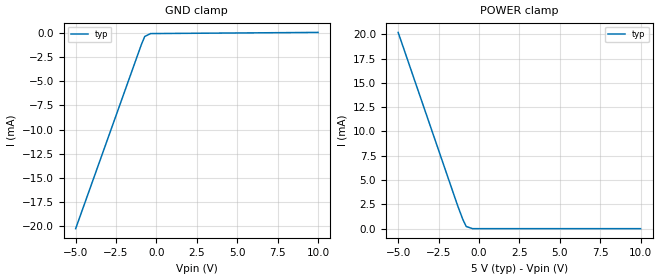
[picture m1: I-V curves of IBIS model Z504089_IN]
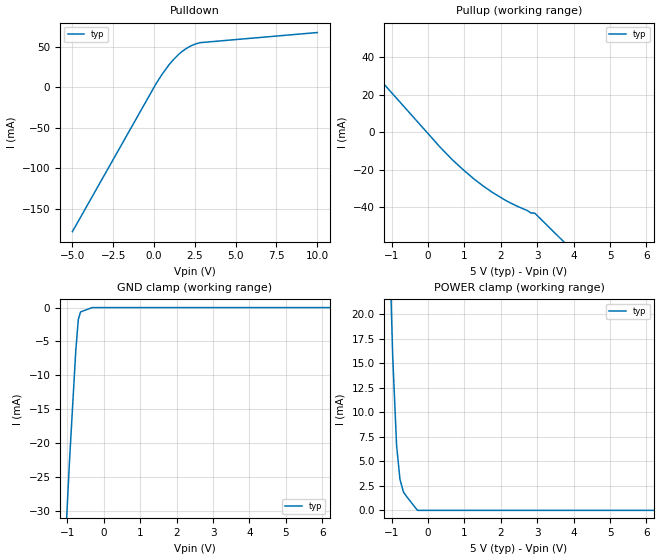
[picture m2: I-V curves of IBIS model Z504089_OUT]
| YOU ARE ONLY AUTHORIZED TO USE THIS SOFTWARE
| ACCORDING TO LICENSOR'S LICENSE RESTRICTIONS.
[IBIS Ver] 3.1
[File Name] mc54hc30j.ibs
[File Rev] 2.0
[Source] Measured and created by ICX Technology
[Date] Friday 7/14/00 9:08:06 AM
[Copyright]
| (C) COPYRIGHT 1993-2000
| MENTOR GRAPHICS CORPORATION
| ICX STANDARD LIBRARY, ICX PROJECT MODELING,
| ICX CUSTOM MODELING, ICX VENDOR MODEL
| ALL RIGHTS RESERVED.
| THE FOLLOWING ARE TRADEMARKS OR SERVICE MARKS OF
| MENTOR GRAPHICS CORPORATION:ICX (R), ICX STANDARD
| LIBRARY(R), ICX PROJECT MODELING(R), ICX CUSTOM
| MODELING(R), qualityIBIS(TM), MODELVIEWER(TM),
| AND MODELEDITOR(TM)
| ALL COPIES OF SOFTWARE, INCLUDING BUT NOT LIMITED TO
| ANY MODIFICATIONS, ENHANCEMENTS OR DERIVATIVE WORKS,
| MUST CONTAIN ALL MENTOR GRAPHICS CORPORATION'S
| NOTICES AND LEGENDS, INCLUDING THOSE EMBEDDED IN
| SOFTWARE AND THOSE AFFIXED TO SOFTWARE MEDIUM
| AND CONTAINER, AS RECEIVED FROM MENTOR GRAPHICS
| CORPORATION.
|  ZAP Model Builder 2.7
[Component] MC54HC30J
[Manufacturer] OnSemiconductor
[Package]
| variable   typ   min   max
R_pkg  .21ohms NA NA
L_pkg  4.543nH NA NA
C_pkg  1.8pF NA NA
[Pin] signal_name  model_name  R_pin  L_pin C_pin
1 A Z504089_IN .22 6.757n 2.434p
2 B Z504089_IN .212 4.757n 1.941p
3 C Z504089_IN .204 3.257n 1.448p
4 D Z504089_IN .196 2.257n .955p
5 E Z504089_IN .204 3.257n 1.448p
6 F Z504089_IN .212 4.757n 1.941p
7 GND GND .22 6.757n 2.434p
8 Y Z504089_OUT .22 6.757n 2.434p
9 NC NC .212 4.757n 1.941p
10 NC NC .204 3.257n 1.448p
11 G Z504089_IN .196 2.257n .955p
12 H Z504089_IN .204 3.257n 1.448p
13 NC NC .212 4.757n 1.941p
14 VCC POWER .22 6.757n 2.434p
| Models and submodels in the file (2): Z504089_IN (Input), Z504089_OUT (Output)
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| (C) COPYRIGHT 1993-2000
| MENTOR GRAPHICS CORPORATION
| ICX STANDARD LIBRARY, ICX PROJECT MODELING,
| ICX CUSTOM MODELING, ICX VENDOR MODEL
| ALL RIGHTS RESERVED.
| THE FOLLOWING ARE TRADEMARKS OR SERVICE MARKS OF
| MENTOR GRAPHICS CORPORATION:ICX (R), ICX STANDARD
| LIBRARY(R), ICX PROJECT MODELING(R), ICX CUSTOM
| MODELING(R), qualityIBIS(TM), MODELVIEWER(TM),
| AND MODELEDITOR(TM)
| ALL COPIES OF SOFTWARE, INCLUDING BUT NOT LIMITED TO
| ANY MODIFICATIONS, ENHANCEMENTS OR DERIVATIVE WORKS,
| MUST CONTAIN ALL MENTOR GRAPHICS CORPORATION'S
| NOTICES AND LEGENDS, INCLUDING THOSE EMBEDDED IN
| SOFTWARE AND THOSE AFFIXED TO SOFTWARE MEDIUM
| AND CONTAINER, AS RECEIVED FROM MENTOR GRAPHICS
| CORPORATION.
| Model Application Version 1.89 2/18/99.
[Model] Z504089_IN
Model_type Input
Vinl = 1.000V
Vinh = 3.500V
C_comp 4.000pF NA NA
| variable typ   min   max
[Voltage Range] 5.000V NA NA
[GND Clamp Reference] 0.000V NA NA
[POWER Clamp Reference] 5.000V NA NA
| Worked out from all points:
|   GND clamp passes 1 mA (typ) near -0.89 V on its own axis
[GND Clamp]
-5V       -20.29mA   NA         NA
-937.2mV  -1.202mA   NA         NA
-727.3mV  -345.3uA   NA         NA
-363.6mV  -42.95uA   NA         NA
10V       80.33uA    NA         NA
[POWER Clamp]
-5V       20.19mA    NA         NA
-1.323V   2.387mA    NA         NA
-1.001V   960.4uA    NA         NA
-788mV    224.5uA    NA         NA
-394mV    0A         NA         NA
10V       0A         NA         NA
| (C) COPYRIGHT 1993-2000
| MENTOR GRAPHICS CORPORATION
| ICX STANDARD LIBRARY, ICX PROJECT MODELING,
| ICX CUSTOM MODELING, ICX VENDOR MODEL
| ALL RIGHTS RESERVED.
| THE FOLLOWING ARE TRADEMARKS OR SERVICE MARKS OF
| MENTOR GRAPHICS CORPORATION:ICX (R), ICX STANDARD
| LIBRARY(R), ICX PROJECT MODELING(R), ICX CUSTOM
| MODELING(R), qualityIBIS(TM), MODELVIEWER(TM),
| AND MODELEDITOR(TM)
| ALL COPIES OF SOFTWARE, INCLUDING BUT NOT LIMITED TO
| ANY MODIFICATIONS, ENHANCEMENTS OR DERIVATIVE WORKS,
| MUST CONTAIN ALL MENTOR GRAPHICS CORPORATION'S
| NOTICES AND LEGENDS, INCLUDING THOSE EMBEDDED IN
| SOFTWARE AND THOSE AFFIXED TO SOFTWARE MEDIUM
| AND CONTAINER, AS RECEIVED FROM MENTOR GRAPHICS
| CORPORATION.
| Model Application Version 1.89 2/18/99.
[Model] Z504089_OUT
Model_type Output
Vref=0.000V
Rref=500.0Mohms
Cref=50.00pF
Vmeas=2.500V
C_comp 8.000pF NA NA
| variable typ   min   max
[Voltage Range] 5.000V NA NA
[POWER Clamp Reference] 5.000V NA NA
[Pullup Reference] 5.000V NA NA
[Pulldown Reference] 0.000V NA NA
[GND Clamp Reference] 0.000V NA NA
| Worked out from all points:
|   slope of the pulldown table from 0 to 0.75 V, typ, clamps not added: 32.5 ohm
|   slope of the pullup table from 0 to 0.75 V, typ, clamps not added: 48.7 ohm
|   GND clamp passes 1 mA (typ) near -0.66 V on its own axis
[GND Clamp]
-5V       -460.9mA   NA         NA
-947mV    -23.04mA   NA         NA
-771.4mV  -6.405mA   NA         NA
-701.5mV  -1.761mA   NA         NA
-639.8mV  -645.6uA   NA         NA
-319.9mV  0A         NA         NA
10V       0A         NA         NA
[Pulldown]
-5V       -177.9mA   NA         NA
102.7mV   3.583mA    NA         NA
469.8mV   15.25mA    NA         NA
913.4mV   27.52mA    NA         NA
1.675V    43.3mA     NA         NA
2.228V    50.6mA     NA         NA
2.822V    54.88mA    NA         NA
10V       67.33mA    NA         NA
[Pullup]
-5V       108mA      NA         NA
337mV     -8.125mA   NA         NA
665mV     -14.68mA   NA         NA
981mV     -20.31mA   NA         NA
1.489V    -28.34mA   NA         NA
2.1V      -36.01mA   NA         NA
2.73V     -41.8mA    NA         NA
2.83V     -43.12mA   NA         NA
10V       -178.4mA   NA         NA
[POWER Clamp]
-5V       544.2mA    NA         NA
-972mV    15.9mA     NA         NA
-864mV    6.64mA     NA         NA
-771mV    3.164mA    NA         NA
-674mV    1.864mA    NA         NA
-580mV    1.37mA     NA         NA
-290mV    0A         NA         NA
10V       0A         NA         NA
[Ramp]
| variable typ min max
dV/dt_r 2.764/2.152n NA NA
dV/dt_f 2.764/1.726n NA NA
R_load = 500.0Ohms
